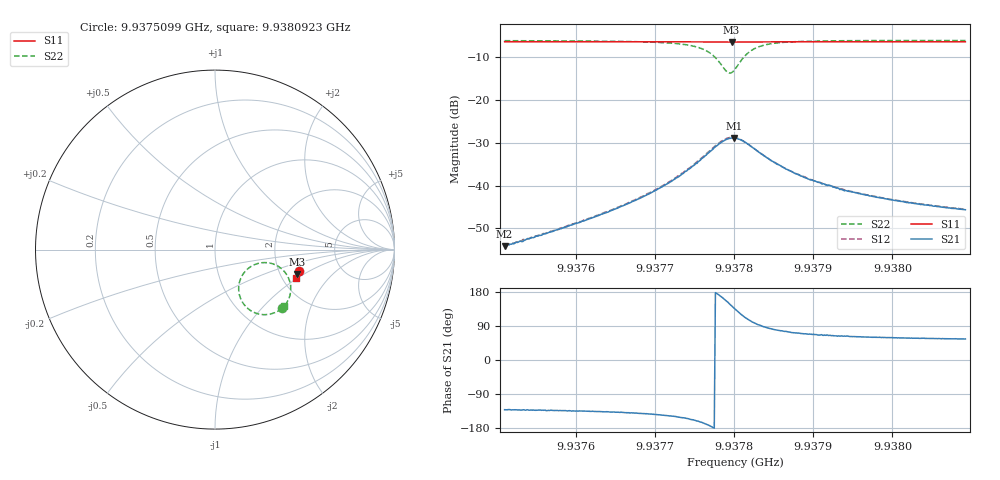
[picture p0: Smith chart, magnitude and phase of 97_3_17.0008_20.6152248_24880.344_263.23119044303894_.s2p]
#  HZ  S  RI  R  50.00
! Rohde & Schwarz Vector Network Analyzer
! Rohde-Schwarz,ZNB20-2Port,1311601062101988,3.16
! Created: UTC 3/20/2024, 10:56:23 PM
! freq[Hz]  re:S11  im:S11  re:S21  im:S21  re:S12  im:S12  re:S22  im:S22
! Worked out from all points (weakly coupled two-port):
!   401 points, 9.9375099 GHz to 9.9380923 GHz, reference 50 ohm
!   highest |S21| = -28.83 dB at 9.9377997 GHz (marker M1); lowest = -54.2 dB at 9.9375099 GHz (marker M2)
!   lowest |S11| = -6.4 dB at 9.9377968 GHz (marker M3), VSWR 2.82, Z = 123 - j43.6 ohm
!   |S11| at or under -10 dB: nowhere
!   |S22| runs from -13.7 to -6.0 dB; largest |S21 - S12| = 0.002
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9.93750993e9  0.4675 -0.12  -0.00129 -0.00147  -0.00133 -0.00148  0.3728 -0.3268
9.93760748e9  0.465 -0.1267  -0.00268 -0.00273  -0.00274 -0.00268  0.3558 -0.3395
9.93766135e9  0.4636 -0.1303  -0.00445 -0.0039  -0.00456 -0.00388  0.3375 -0.3494
9.93770504e9  0.4624 -0.1333  -0.00753 -0.00538  -0.00775 -0.00534  0.3082 -0.3591
9.9377327e9  0.4612 -0.1353  -0.0117 -0.00625  -0.0121 -0.00634  0.2716 -0.3627
9.93776036e9  0.4595 -0.1373  -0.0204 -0.00521  -0.0211 -0.00487  0.2009 -0.3412
9.93777201e9  0.4585 -0.1377  -0.026 -0.00156  -0.0269 -0.000599  0.1593 -0.3025
9.93778366e9  0.4575 -0.1377  -0.0313 0.00706  -0.0319 0.00853  0.1319 -0.2243
9.93779094e9  0.457 -0.1372  -0.0315 0.0151  -0.0317 0.0169  0.144 -0.1594
9.93779676e9  0.4569 -0.1367  -0.0288 0.0218  -0.0282 0.0234  0.1772 -0.1118
9.93779968e9  0.4573 -0.1364  -0.0266 0.0245  -0.0257 0.026  0.2002 -0.0941
9.93780113e9  0.4574 -0.1365  -0.0252 0.0256  -0.0245 0.0271  0.2125 -0.0872
9.93780841e9  0.458 -0.1363  -0.0177 0.0294  -0.0166 0.0303  0.2778 -0.0724
9.93781569e9  0.4586 -0.1364  -0.0107 0.0295  -0.0094 0.0299  0.3334 -0.0838
9.93782297e9  0.4591 -0.1371  -0.00494 0.0276  -0.00427 0.0278  0.3718 -0.1074
9.93783171e9  0.4595 -0.1378  -0.00103 0.0244  -0.00015 0.0246  0.3989 -0.1386
9.93784773e9  0.4596 -0.1396  0.00277 0.0192  0.00319 0.0192  0.4186 -0.1857
9.93786811e9  0.4594 -0.1414  0.00413 0.0147  0.00454 0.0146  0.4221 -0.2244
9.93789869e9  0.4588 -0.1439  0.00446 0.0107  0.00461 0.0107  0.4168 -0.2574
9.93793654e9  0.4578 -0.1466  0.004 0.00801  0.00431 0.00803  0.4087 -0.2796
9.93799624e9  0.4562 -0.1505  0.00351 0.00589  0.00367 0.0059  0.3985 -0.2984
9.93809234e9  0.454 -0.157  0.00294 0.00432  0.00305 0.00427  0.387 -0.3146
